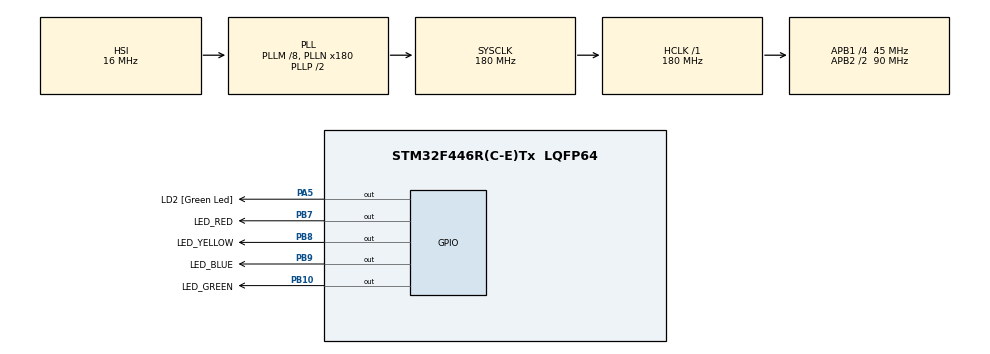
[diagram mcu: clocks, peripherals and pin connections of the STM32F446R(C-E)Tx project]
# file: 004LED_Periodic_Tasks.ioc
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Mcu.Family=STM32F4
VP_SYS_VS_tim6.Mode=TIM6
PH0-OSC_IN.Signal=RCC_OSC_IN
RCC.CortexFreq_Value=180000000
PB9.GPIO_Label=LED_BLUE
NVIC.TIM6_DAC_IRQn=true\:0\:0\:false\:false\:true\:false\:true
PA14.GPIO_Label=TCK
RCC.APB1CLKDivider=RCC_HCLK_DIV4
PC14-OSC32_IN.Signal=RCC_OSC32_IN
RCC.SYSCLKSource=RCC_SYSCLKSOURCE_PLLCLK
ProjectManager.StackSize=0x400
PA13.Signal=SYS_JTMS-SWDIO
PB8.GPIO_Label=LED_YELLOW
ProjectManager.TargetToolchain=STM32CubeIDE
PB10.GPIO_Label=LED_GREEN
RCC.HCLKFreq_Value=180000000
RCC.APB2TimFreq_Value=180000000
RCC.USBFreq_Value=180000000
RCC.LSE_VALUE=32768
PC15-OSC32_OUT.Signal=RCC_OSC32_OUT
RCC.AHBFreq_Value=180000000
PB10.Signal=GPIO_Output
PA5.Signal=GPIO_Output
RCC.HSE_VALUE=8000000
board=NUCLEO-F446RE
RCC.VCOOutputFreq_Value=360000000
RCC.APB2Freq_Value=90000000
PH1-OSC_OUT.Signal=RCC_OSC_OUT
PB7.Signal=GPIO_Output
Mcu.Name=STM32F446R(C-E)Tx
PA2.Signal=USART2_TX
PA13.GPIO_Label=TMS
RCC.FLatency-AdvancedSettings=FLASH_LATENCY_5
PB7.GPIO_Label=LED_RED
PB3.Signal=SYS_JTDO-SWO
RCC.SYSCLKFreq_VALUE=180000000
Mcu.Package=LQFP64
PB9.Signal=GPIO_Output
NVIC.TimeBase=TIM6_DAC_IRQn
PA5.GPIO_Label=LD2 [Green Led]
PA2.GPIO_Label=USART_TX
NVIC.TimeBaseIP=TIM6
PA14.Signal=SYS_JTCK-SWCLK
ProjectManager.HeapSize=0x200
RCC.HSI_VALUE=16000000
NVIC.PriorityGroup=NVIC_PRIORITYGROUP_4
RCC.APB2CLKDivider=RCC_HCLK_DIV2
RCC.PLLM=8
RCC.PLLN=180
RCC.APB1TimFreq_Value=90000000
PB8.Signal=GPIO_Output
RCC.APB1Freq_Value=45000000
PA3.GPIO_Label=USART_RX
PA3.Signal=USART2_RX
PB3.GPIO_Label=SWO

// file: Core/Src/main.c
/* USER CODE BEGIN Header */
/**
  ******************************************************************************
  * @file           : main.c
  * @brief          : Main program body
  ******************************************************************************
  * @attention
  *
  * <h2><center>&copy; Copyright (c) 2021 STMicroelectronics.
  * All rights reserved.</center></h2>
  *
  * This software component is licensed by ST under BSD 3-Clause license,
  * the "License"; You may not use this file except in compliance with the
  * License. You may obtain a copy of the License at:
  *                        opensource.org/licenses/BSD-3-Clause
  *
  ******************************************************************************
  */
/* USER CODE END Header */
#include "main.h"

/* USER CODE BEGIN Includes */
#include <stdio.h>
#include "FreeRTOS.h"
#include "task.h"
/* USER CODE END Includes */

/* USER CODE BEGIN PV */
#define DWT_CTRL (*(volatile uint32_t*) 0xE0001000)
/* USER CODE END PV */

void SystemClock_Config(void);
static void MX_GPIO_Init(void);
/* USER CODE BEGIN PFP */
static void led_red_handler(void* parameters);
static void led_yellow_handler(void* parameters);
static void led_blue_handler(void* parameters);
static void led_green_handler(void* parameters);

extern void SEGGER_UART_init(uint32_t);

TaskHandle_t ledr_task_handle;
TaskHandle_t ledy_task_handle;
TaskHandle_t ledb_task_handle;
TaskHandle_t ledg_task_handle;

TaskHandle_t volatile next_task_handle = NULL;
/* USER CODE END PFP */

int main(void)
{
  /* USER CODE BEGIN 1 */
	BaseType_t status;
  /* USER CODE END 1 */

  /* MCU Configuration--------------------------------------------------------*/

  /* Reset of all peripherals, Initializes the Flash interface and the Systick. */
  HAL_Init();

  /* Configure the system clock */
  SystemClock_Config();

  /* Initialize all configured peripherals */
  MX_GPIO_Init();
  /* USER CODE BEGIN 2 */

  SEGGER_UART_init(500000);

  //CYCLCNT enable
  DWT_CTRL |= ( 1 << 0);

  SEGGER_SYSVIEW_Conf();
  //SEGGER_SYSVIEW_Start(); //comment out if using UART based continuous recording

  //Create Task 1: Red LED
  status = xTaskCreate(led_red_handler, "LED_RED_TASK", 200, NULL, 2, &ledr_task_handle);
  configASSERT(status == pdPASS);

  next_task_handle = ledy_task_handle;

  //Create Task 2: Yellow LED
  status = xTaskCreate(led_yellow_handler, "LED_YELLOW_TASK", 200, NULL, 2, &ledy_task_handle);
  configASSERT(status == pdPASS);

  //Create Task 3: Blue LED
  status = xTaskCreate(led_blue_handler, "LED_BLUE_TASK", 200, NULL, 2, &ledb_task_handle);
  configASSERT(status == pdPASS);

  //Create Task 4: Green LED
  status = xTaskCreate(led_green_handler, "LED_GREEN_TASK", 200, NULL, 2, &ledg_task_handle);
  configASSERT(status == pdPASS);

  //start the freeRTOS scheduler
  vTaskStartScheduler();

  /* USER CODE END 2 */

  /* Infinite loop */
  while (1)
  {

  }
}

void SystemClock_Config(void)
{
  RCC_OscInitTypeDef RCC_OscInitStruct = {0};
  RCC_ClkInitTypeDef RCC_ClkInitStruct = {0};

  /** Configure the main internal regulator output voltage
  */
  __HAL_RCC_PWR_CLK_ENABLE();
  __HAL_PWR_VOLTAGESCALING_CONFIG(PWR_REGULATOR_VOLTAGE_SCALE1);
  /** Initializes the RCC Oscillators according to the specified parameters
  * in the RCC_OscInitTypeDef structure.
  */
  RCC_OscInitStruct.OscillatorType = RCC_OSCILLATORTYPE_HSI;
  RCC_OscInitStruct.HSIState = RCC_HSI_ON;
  RCC_OscInitStruct.HSICalibrationValue = RCC_HSICALIBRATION_DEFAULT;
  RCC_OscInitStruct.PLL.PLLState = RCC_PLL_ON;
  RCC_OscInitStruct.PLL.PLLSource = RCC_PLLSOURCE_HSI;
  RCC_OscInitStruct.PLL.PLLM = 8;
  RCC_OscInitStruct.PLL.PLLN = 180;
  RCC_OscInitStruct.PLL.PLLP = RCC_PLLP_DIV2;
  RCC_OscInitStruct.PLL.PLLQ = 2;
  RCC_OscInitStruct.PLL.PLLR = 2;
  if (HAL_RCC_OscConfig(&RCC_OscInitStruct) != HAL_OK)
  {
    Error_Handler();
  }
  /** Activate the Over-Drive mode
  */
  if (HAL_PWREx_EnableOverDrive() != HAL_OK)
  {
    Error_Handler();
  }
  /** Initializes the CPU, AHB and APB buses clocks
  */
  RCC_ClkInitStruct.ClockType = RCC_CLOCKTYPE_HCLK|RCC_CLOCKTYPE_SYSCLK
                              |RCC_CLOCKTYPE_PCLK1|RCC_CLOCKTYPE_PCLK2;
  RCC_ClkInitStruct.SYSCLKSource = RCC_SYSCLKSOURCE_PLLCLK;
  RCC_ClkInitStruct.AHBCLKDivider = RCC_SYSCLK_DIV1;
  RCC_ClkInitStruct.APB1CLKDivider = RCC_HCLK_DIV4;
  RCC_ClkInitStruct.APB2CLKDivider = RCC_HCLK_DIV2;

  if (HAL_RCC_ClockConfig(&RCC_ClkInitStruct, FLASH_LATENCY_5) != HAL_OK)
  {
    Error_Handler();
  }
}

static void MX_GPIO_Init(void)
{
  GPIO_InitTypeDef GPIO_InitStruct = {0};

  /* GPIO Ports Clock Enable */
  __HAL_RCC_GPIOC_CLK_ENABLE();
  __HAL_RCC_GPIOH_CLK_ENABLE();
  __HAL_RCC_GPIOA_CLK_ENABLE();
  __HAL_RCC_GPIOB_CLK_ENABLE();

  /*Configure GPIO pin Output Level */
  HAL_GPIO_WritePin(LD2_GPIO_Port, LD2_Pin, GPIO_PIN_RESET);

  /*Configure GPIO pin Output Level */
  HAL_GPIO_WritePin(GPIOB, LED_GREEN_Pin|LED_RED_Pin|LED_YELLOW_Pin|LED_BLUE_Pin, GPIO_PIN_RESET);

  /*Configure GPIO pins : USART_TX_Pin USART_RX_Pin */
  GPIO_InitStruct.Pin = USART_TX_Pin|USART_RX_Pin;
  GPIO_InitStruct.Mode = GPIO_MODE_AF_PP;
  GPIO_InitStruct.Pull = GPIO_NOPULL;
  GPIO_InitStruct.Speed = GPIO_SPEED_FREQ_VERY_HIGH;
  GPIO_InitStruct.Alternate = GPIO_AF7_USART2;
  HAL_GPIO_Init(GPIOA, &GPIO_InitStruct);

  /*Configure GPIO pin : LD2_Pin */
  GPIO_InitStruct.Pin = LD2_Pin;
  GPIO_InitStruct.Mode = GPIO_MODE_OUTPUT_PP;
  GPIO_InitStruct.Pull = GPIO_NOPULL;
  GPIO_InitStruct.Speed = GPIO_SPEED_FREQ_LOW;
  HAL_GPIO_Init(LD2_GPIO_Port, &GPIO_InitStruct);

  /*Configure GPIO pins : LED_GREEN_Pin LED_RED_Pin LED_YELLOW_Pin LED_BLUE_Pin */
  GPIO_InitStruct.Pin = LED_GREEN_Pin|LED_RED_Pin|LED_YELLOW_Pin|LED_BLUE_Pin;
  GPIO_InitStruct.Mode = GPIO_MODE_OUTPUT_PP;
  GPIO_InitStruct.Pull = GPIO_NOPULL;
  GPIO_InitStruct.Speed = GPIO_SPEED_FREQ_LOW;
  HAL_GPIO_Init(GPIOB, &GPIO_InitStruct);

}

/* USER CODE BEGIN 4 */
static void led_red_handler(void* parameters) {
	TickType_t xLastWakeupTime;

	//Initialize the xLastWakeTime variable with the current time
	xLastWakeupTime = xTaskGetTickCount();

	while(1) {
		SEGGER_SYSVIEW_PrintfTarget("Toggling Red LED");
		HAL_GPIO_TogglePin(LED_RED_GPIO_Port, LED_RED_Pin);
		//HAL_Delay(1000);
		vTaskDelayUntil(&xLastWakeupTime, pdMS_TO_TICKS(1000));
	}
}

static void led_yellow_handler(void* parameters) {
	TickType_t xLastWakeupTime;

	//Initialize the xLastWakeTime variable with the current time
	xLastWakeupTime = xTaskGetTickCount();

	while(1) {
		SEGGER_SYSVIEW_PrintfTarget("Toggling Yellow LED");
		HAL_GPIO_TogglePin(LED_YELLOW_GPIO_Port, LED_YELLOW_Pin);
		//HAL_Delay(800);
		vTaskDelayUntil(&xLastWakeupTime, pdMS_TO_TICKS(800));
	}
}

static void led_blue_handler(void* parameters) {
	TickType_t xLastWakeupTime;

	//Initialize the xLastWakeTime variable with the current time
	xLastWakeupTime = xTaskGetTickCount();

	while(1) {
		SEGGER_SYSVIEW_PrintfTarget("Toggling Blue LED");
		HAL_GPIO_TogglePin(LED_BLUE_GPIO_Port, LED_BLUE_Pin);
		//HAL_Delay(600);
		vTaskDelayUntil(&xLastWakeupTime, pdMS_TO_TICKS(600));
	}
}

static void led_green_handler(void* parameters) {
	TickType_t xLastWakeupTime;

	//Initialize the xLastWakeTime variable with the current time
	xLastWakeupTime = xTaskGetTickCount();

	while(1) {
		SEGGER_SYSVIEW_PrintfTarget("Toggling Green LED");
		HAL_GPIO_TogglePin(LED_GREEN_GPIO_Port, LED_GREEN_Pin);
		//HAL_Delay(400);
		vTaskDelayUntil(&xLastWakeupTime, pdMS_TO_TICKS(400));
	}
}

void vApplicationIdleHook( void )
{
	HAL_PWR_EnterSLEEPMode(PWR_MAINREGULATOR_ON, PWR_SLEEPENTRY_WFI);

}

/* USER CODE END 4 */

 /**
  * @brief  Period elapsed callback in non blocking mode
  * @note   This function is called  when TIM6 interrupt took place, inside
  * HAL_TIM_IRQHandler(). It makes a direct call to HAL_IncTick() to increment
  * a global variable "uwTick" used as application time base.
  * @param  htim : TIM handle
  * @retval None
  */
void HAL_TIM_PeriodElapsedCallback(TIM_HandleTypeDef *htim)
{
  if (htim->Instance == TIM6) {
    HAL_IncTick();
  }
}

void Error_Handler(void)
{
  __disable_irq();
  while (1)
  {
  }
}

/************************ (C) COPYRIGHT STMicroelectronics *****END OF FILE****/
